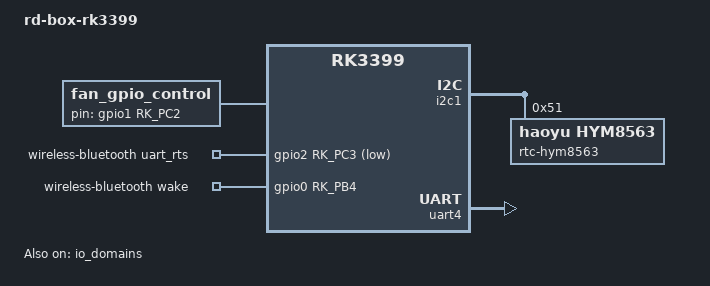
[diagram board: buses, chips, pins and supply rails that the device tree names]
/dts-v1/;

#include "rp-rk3399-board.dtsi"

#include "rp-pmu-rk808.dtsi"
#include "rp-audio-rt5640.dtsi"

#include "rp-usb2-host0.dtsi"
#include "rp-usb2-host1.dtsi"
#include "rp-usb3-otg-typeA.dtsi"
//#include "rp-usb3-otg-typeC.dtsi"
#include "rp-usb3_1-host.dtsi"

#include "rp-gpio-key.dtsi"
#include "rp-adc-key.dtsi"      

#include "rp-gmac.dtsi"    

#include "rp-mipi-ov13850-camera.dtsi"
//#include "rp-hdmiin.dtsi"

#include "rp-pcie.dtsi"

#include "rp-wifi-sdio.dtsi"

#include "rp-bt-uart0.dtsi"

#include "rp-sdcard-mmc1.dtsi"

/** lcd configuration */
//#include "rp-lcd-hdmi.dtsi"
//#include "rp-lcd-mipi-5.5-720-1280-v2.dtsi"
//#include "rp-lcd-mipi-5-720-1280-v2-boxTP.dtsi"
//#include "rp-lcd-mipi-5-720-1280-v2.dtsi"
#include "rp-lcd-mipi-7-720-1280-jc070hd005-v1.dtsi"
//#include "rp-lcd-mipi-8-800-1280-v3.dtsi"
//#include "rp-lcd-mipi-8-1200-1920.dtsi"
//#include "rp-lcd-mipi-10-800-1280-v2.dtsi"
//#include "rp-lcd-mipi-10-800-1280-v3.dtsi"
//#include "rd-box-lcd-edp-13.3-15.6-1920-1080.dtsi"




/ {

        model = "rd-box-rk3399";
        compatible = "rpdzkj,rd-box-rk3399", "rockchip,rk3399";

	fan_gpio_control {
            compatible = "fan_gpio_control";
            gpio-pin = <&gpio1 RK_PC2 GPIO_ACTIVE_HIGH>;
            thermal-zone = "cpu-thermal";
            threshold-temp = <60000>; //60C
            running-time = <10000>; //10s
            status = "okay";
        };
        
        rp_power{
            compatible = "rp_power";
        rp_not_deep_sleep = <1>;
            status = "okay";
            
           /* 
         * #define GPIO_FUNCTION_OUTPUT 0
         * #define GPIO_FUNCTION_INPUT 1
         * #define GPIO_FUNCTION_IRQ 2
         * #define GPIO_FUNCTION_FLASH 3
         * #define GPIO_FUNCTION_OUTPUT_CTRL 4 //output and creat proc ctrl
         * 
         * you can define the gpio function as above
         * on gpio_function = <>;
     *
     *If you want to set the uboot to high level, add the lower properties
     *    regulator_uboot_on    
         */                

           // fan_en {    //fan
           //     gpio_num = <&gpio1 RK_PC2 GPIO_ACTIVE_HIGH>;
           //     gpio_function = <4>;
           //     regulator_uboot_on;
           // };
   
            hub_rst {   // usb hub reset pin
                gpio_num = <&gpio1 RK_PD0 GPIO_ACTIVE_HIGH>;
                gpio_function = <4>;
                regulator_uboot_on;
            };
            
            breath-led {    //run led
                gpio_num = <&gpio4 RK_PD0 GPIO_ACTIVE_HIGH>;
                gpio_function = <3>;
                regulator_uboot_on;
            };
            
            vdd-en {    //vdd_5v, vdd_io power en
                gpio_num = <&gpio4 RK_PD6 GPIO_ACTIVE_HIGH>;
                gpio_function = <4>;
                regulator_uboot_on;
            };
            
            vdd_3g {    // 4g module power enable
                gpio_num = <&gpio4 RK_PC6 GPIO_ACTIVE_HIGH>;
                gpio_function = <4>;
                regulator_uboot_on;
            };
            
            host_en {   //usb port power enable
                gpio_num = <&gpio4 RK_PD1 GPIO_ACTIVE_HIGH>;
                gpio_function = <4>;
                regulator_uboot_on;
            };
            
        };

        rp_gpio{
            status = "okay";
            compatible = "rp_gpio";

            /**
             * GPIO example, place you want to control as below
             *
             * gpioxxx {                    // the node name will display on /proc/rp_gpio, you can define any character string
             *      gpio_num = <>;          // gpio you want ot control
             *      gpio_function = <>;     // function of current gpio: 0 output, 1 input, 3 blink per 2S
             *      gpio_event = <KEY_F14>; // optional property used to define gpio report event such as KEY_F14, only works in case of gpio_function = <1>;
             * };
             */

            gpio0a2 {
                gpio_num = <&gpio0 RK_PA2 GPIO_ACTIVE_LOW>;
                gpio_function = <0>;
            };

            gpio1a2 {
                gpio_num = <&gpio1 RK_PA2 GPIO_ACTIVE_LOW>;
                gpio_function = <0>;
            };

            gpio1c7 {
                gpio_num = <&gpio1 RK_PC7 GPIO_ACTIVE_LOW>;
                gpio_function = <0>;
            };

            gpio0b3 {
                gpio_num = <&gpio0 RK_PB3 GPIO_ACTIVE_LOW>;
                gpio_function = <0>;
            };

            gpio3d4 {
                gpio_num = <&gpio3 RK_PD4 GPIO_ACTIVE_LOW>;
                gpio_function = <0>;
            };

            gpio3d5 {
                gpio_num = <&gpio3 RK_PD5 GPIO_ACTIVE_LOW>;
                gpio_function = <0>;
            };

            gpio3d6 {
                gpio_num = <&gpio3 RK_PD6 GPIO_ACTIVE_LOW>;
                gpio_function = <0>;
            };

            gpio4c5 {
                gpio_num = <&gpio4 RK_PC5 GPIO_ACTIVE_LOW>;
                gpio_function = <0>;
            };

            gpio4d3 {
                gpio_num = <&gpio4 RK_PD3 GPIO_ACTIVE_LOW>;
                gpio_function = <0>;
            };
        };

wireless-bluetooth {
        compatible = "bluetooth-platdata";
        clocks = <&rk808 1>;
        clock-names = "ext_clock";
        //wifi-bt-power-toggle;
        uart_rts_gpios = <&gpio2 RK_PC3 GPIO_ACTIVE_LOW>; /* GPIO2_C3 */
        pinctrl-names = "default", "rts_gpio";
        pinctrl-0 = <&uart0_rts>, <&bt_reset_gpio>, <&bt_wake_gpio>, <&bt_irq_gpio>;
        pinctrl-1 = <&uart0_gpios>;
        //BT,power_gpio  = <&gpio3 19 GPIO_ACTIVE_HIGH>; /* GPIOx_xx */
        //BT,reset_gpio    = <&gpio0 RK_PB1 GPIO_ACTIVE_HIGH>; /* GPIO0_B1 */
        BT,wake_gpio     = <&gpio0 RK_PB4 GPIO_ACTIVE_HIGH>; /* GPIO2_D2 */
        //BT,wake_host_irq = <&gpio0 RK_PA4 GPIO_ACTIVE_HIGH>; /* GPIO0_A4 */
        status = "okay";
    };

        
};



&io_domains {
        status = "okay";

        bt656-supply = <&vcc_1v8>;              /* bt656_gpio2ab_ms */
        audio-supply = <&vcca1v8_codec>;        /* audio_gpio3d4a_ms */
        sdmmc-supply = <&vcc_sdio>;             /* sdmmc_gpio4b_ms */
        gpio1830-supply = <&vcc_3v0>;           /* gpio1833_gpio4cd_ms */
};

&pmu_io_domains {
        status = "okay";
        pmu1830-supply = <&vcc_1v8>;     //nano usb
};


&rk808 {
    rtc {
        /****** disable rtc-rk808 for use hym8563 */
        status = "disabled";
    };
};

&i2c1 {
        status = "okay";
        i2c-scl-rising-time-ns = <300>;
        i2c-scl-falling-time-ns = <15>;

        rtc-hym8563@51 {
                status = "okay";
                compatible = "haoyu,hym8563";
                reg = <0x51>;
        };
};

//used to bluetooth
//&uart0 {
//        status = "okay";
        //dma-names = "tx", "rx";
        //dmas = <&dmac_peri 0>, <&dmac_peri 1>;
//};

//conflicts to ethernet
&uart1 {
        status = "disabled";
        //dma-names = "tx", "rx";
        //dmas = <&dmac_peri 2>, <&dmac_peri 3>;
};

//conflicts to debugger
&uart2 {
        status = "disabled";
        //dma-names = "tx", "rx";
        //dmas = <&dmac_peri 4>, <&dmac_peri 5>;
};

//conflicts to ethernet
&uart3 {
        status = "disabled";
        //dma-names = "tx", "rx";
        //dmas = <&dmac_peri 6>, <&dmac_peri 7>;
};

&uart4 {
        status = "okay";
        pinctrl-names = "default";
        pinctrl-0 = <&uart4_xfer>;
        dma-names = "tx", "rx";
        dmas = <&dmac_peri 8>, <&dmac_peri 9>;
};

&fiq_debugger {
        rockchip,serial-id = <2>; //uart2
        rockchip,wake-irq = <0>;
        rockchip,irq-mode-enable = <1>;
        compatible = "rockchip,fiq-debugger";
        rockchip,baudrate = <115200>;
        pinctrl-names = "default";
        pinctrl-0 = <&uart2c_xfer>;
};

/*
&spi_wk2xxx{
        status = "okay";
        reset-gpio = <&gpio4 RK_PD5 GPIO_ACTIVE_HIGH>;
        irq-gpio = <&gpio0 RK_PB0 IRQ_TYPE_EDGE_FALLING>;//modify
        cs-gpio = <&gpio1 RK_PB2 GPIO_ACTIVE_HIGH>;
};
*/

&pinctrl {
    wireless-bluetooth {
        bt_wake_gpio: bt-wake-gpio {
            rockchip,pins =
                <0 RK_PB4 RK_FUNC_GPIO &pcfg_pull_none>;
        };
    };
};

